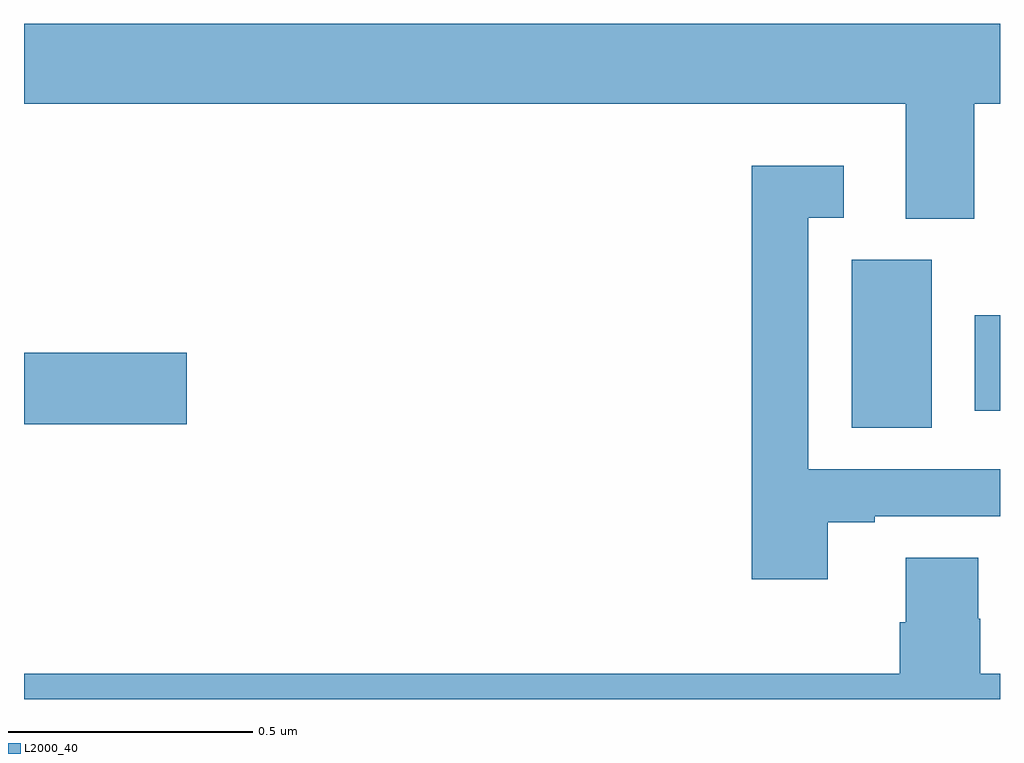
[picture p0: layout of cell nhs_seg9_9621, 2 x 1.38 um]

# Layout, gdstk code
import gdstk
lib = gdstk.Library(unit=1e-6, precision=1e-09)
def R(c, l, rs):  # rectangles x0, y0, x1, y1
    for r in rs: c.add(gdstk.rectangle(r[:2], r[2:], *l))
def P(c, l, *ps):  # polygons
    for p in ps: c.add(gdstk.Polygon(p, *l))
L2000_40 = (2000, 40)

nhs_seg9_9621 = lib.new_cell('nhs_seg9_9621')
R(nhs_seg9_9621, L2000_40, [(233.696,1229.056,233.86,1229.4), (232,1229.063,232.333,1229.21), (233.948,1229.091,234,1229.287)])
P(nhs_seg9_9621, L2000_40, [(233.947,1229.72),(234,1229.72),(234,1229.884),(232,1229.884),(232,1229.72),(233.807,1229.72),(233.807,1229.485),(233.947,1229.485)],
  [(233.647,1228.863),(233.743,1228.863),(233.743,1228.875),(234,1228.875),(234,1228.971),(233.607,1228.971),(233.607,1229.487),(233.68,1229.487),(233.68,1229.593),(233.491,1229.593),(233.491,1228.746),(233.647,1228.746)],
  [(234,1228.552),(233.96,1228.552),(233.96,1228.665),(233.955,1228.665),(233.955,1228.79),(233.807,1228.79),(233.807,1228.658),(233.795,1228.658),(233.795,1228.552),(232,1228.552),(232,1228.5),(234,1228.5)])

lib.write_gds('nhs_seg9_9621.gds')
